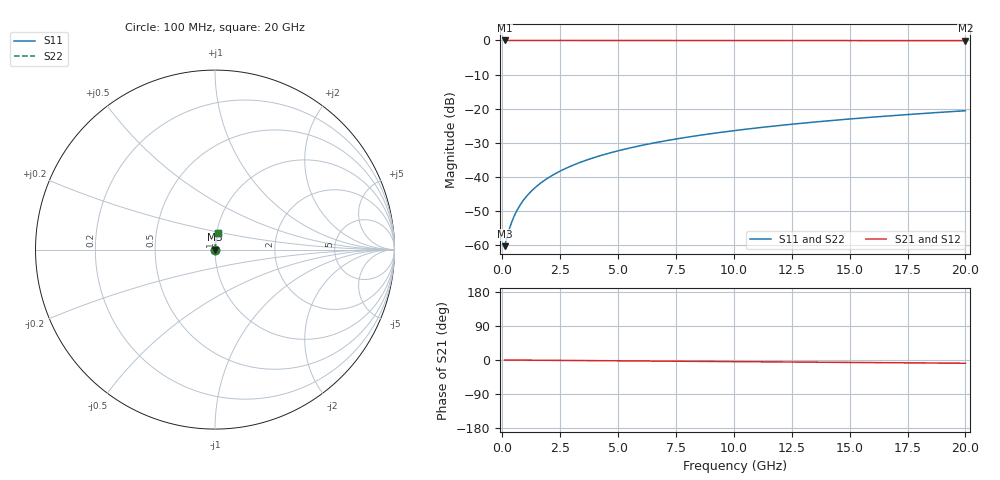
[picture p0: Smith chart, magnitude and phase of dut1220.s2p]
! Touchstone file exported from HFSS 2026.1.0
!  File:  C:/ffzhzh/LocalFiles/Ansys_Project_Files/temp_train_TSV_1220_1783193040_22436.aedt
!  Generated:  03:25:59 AM Jul  5, 2026
!  Design:  TSV
!  Project:  temp_train_TSV_1220_1783193040_22436
! Variables:
!  h_bsmrdl = 2um
!  h_ox = 20um
!  h_rdl = 5um
!  h_sub = 62.45um
!  h_tmrdl = 5um
!  h_tsv = 62.45um
!  h_via = 3um
!  l_bsmrdl = 300um
!  l_sub = 406.02um
!  l_tmrdl = 200um
!  m_sub = 200um
!  pitch = 40.67um
!  r_tsv = 3.01um
!  s_tmrdl = 10um
!  w_bsmrdl = 18um
!  w_sub = 500um
!  w_tmrdl = 12um
!  x_tsv_center1 = 206um
!  x_tsv_center2 = 524um
!  x_tsv_center3 = 736um
!  x_tsv_center4 = 1054um
!  x_tsv_center5 = 1266um
!  x_tsv_center6 = 1584um
# GHz S MA R 50.000000
! Terminal data exported
! Port[1] = TSV1_1_T1
! Port[2] = TSV1_1_T2
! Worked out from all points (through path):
!   200 points, 100 MHz to 20 GHz, reference 50 ohm
!   highest |S21| = -0.01 dB at 100 MHz (marker M1); lowest = -0.1 dB at 20 GHz (marker M2)
!   group delay of S21, straight-line fit = 1.18 ps
!   lowest |S11| = -60.4 dB at 100 MHz (marker M3), VSWR 1.00, Z = 50.1 + j0.0494 ohm
!   |S11| at or under -10 dB: start of sweep to end of sweep
!   |S22| runs from -60.4 to -20.6 dB; largest |S21 - S12| = 3.3e-15
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0.1  0.0009563 31.0  0.9992 -0.0  0.9992 -0.0  0.0009563 31.0
! Gamma 0 0 0 0
! Port Impedance 50 0 50 0
0.3  0.001692 60.3  0.9992 -0.1  0.9992 -0.1  0.001692 60.3
0.4  0.00213 66.6  0.9992 -0.2  0.9992 -0.2  0.00213 66.6
0.5  0.002583 70.6  0.9991 -0.2  0.9991 -0.2  0.002583 70.6
0.6  0.003044 73.4  0.9991 -0.3  0.9991 -0.3  0.003044 73.4
0.8  0.003979 77.1  0.9991 -0.4  0.9991 -0.4  0.003979 77.1
1  0.004925 79.3  0.9991 -0.4  0.9991 -0.4  0.004925 79.3
1.2  0.005876 80.8  0.9991 -0.5  0.9991 -0.5  0.005876 80.8
1.4  0.00683 81.9  0.9991 -0.6  0.9991 -0.6  0.00683 81.9
1.7  0.008265 82.9  0.9991 -0.7  0.9991 -0.7  0.008265 82.9
2.2  0.01066 84.0  0.999 -1.0  0.999 -1.0  0.01066 84.0
2.8  0.01353 84.6  0.9989 -1.2  0.9989 -1.2  0.01353 84.6
3.5  0.01688 84.9  0.9988 -1.5  0.9988 -1.5  0.01688 84.9
4.2  0.02021 85.0  0.9987 -1.8  0.9987 -1.8  0.02021 85.0
5  0.02401 84.9  0.9985 -2.2  0.9985 -2.2  0.02401 84.9
5.9  0.02826 84.7  0.9983 -2.6  0.9983 -2.6  0.02826 84.7
6.8  0.03249 84.5  0.998 -2.9  0.998 -2.9  0.03249 84.5
8.3  0.0395 84.1  0.9976 -3.6  0.9976 -3.6  0.0395 84.1
10.1  0.04784 83.4  0.997 -4.4  0.997 -4.4  0.04784 83.4
13.4  0.06302 82.3  0.9959 -5.8  0.9959 -5.8  0.06302 82.3
16.7  0.07806 81.1  0.9945 -7.2  0.9945 -7.2  0.07806 81.1
20  0.09298 79.8  0.993 -8.5  0.993 -8.5  0.09298 79.8
